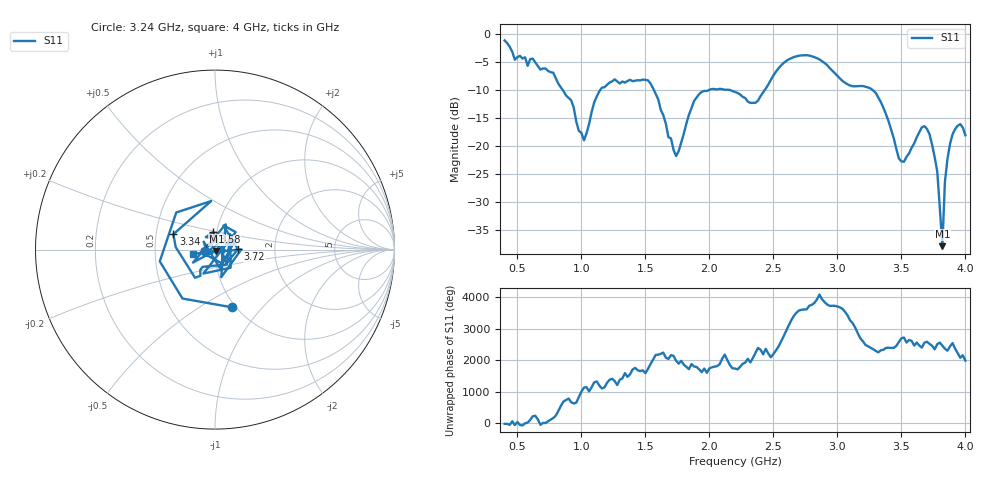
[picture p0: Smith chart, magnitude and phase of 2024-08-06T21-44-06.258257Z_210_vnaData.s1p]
!Created with skrf (http://scikit-rf.org).
# Hz S RI R 50.0
!freq ReS11 ImS11
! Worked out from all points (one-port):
!   181 points, 400 MHz to 4 GHz, reference 50 ohm
!   lowest |S11| = -37.8 dB at 3.82 GHz (marker M1), VSWR 1.03, Z = 50.8 - j1.05 ohm
!   |S11| at or under -10 dB: 855.2 MHz to 1.146 GHz (290.6 MHz wide, 29 % of centre); 1.567 GHz to 1.993 GHz (425.9 MHz wide, 23.9 % of centre); 3.277 GHz to end of sweep (the widest 3 of 4)
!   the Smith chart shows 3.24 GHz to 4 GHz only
!   S11 on the Smith chart (normalised r, x): 3.24 GHz: 0.96, -0.69; 3.34 GHz: 0.62, +0.11; 3.58 GHz: 0.96, +0.19; 3.72 GHz: 1.29, +0.01; 4 GHz: 0.78, -0.04
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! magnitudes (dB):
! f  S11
! 400 MHz  -1.1
! 480 MHz  -4.6
! 860 MHz  -10.2
! 1.02 GHz  -18.9
! 1.14 GHz  -10.2
! 1.3 GHz  -8.8
! 1.52 GHz  -8.2
! 1.74 GHz  -21.7
! 1.76 GHz  -20.9
! 1.92 GHz  -10.7
! 2.2 GHz  -10.3
! 2.36 GHz  -12.2
! 2.66 GHz  -4.1
! 2.86 GHz  -4.5
! 3.1 GHz  -9.2
! 3.24 GHz  -9.5
! 3.34 GHz  -12.1
! 3.48 GHz  -22.2
! 3.56 GHz  -21.3
! 3.58 GHz  -20.3
! 3.66 GHz  -16.6
! 3.72 GHz  -17.9
! 3.78 GHz  -24.5
! 3.82 GHz  -37.8
! 3.84 GHz  -26.3
! 3.88 GHz  -19.6
! 3.96 GHz  -16.1
! 4 GHz  -18.0
